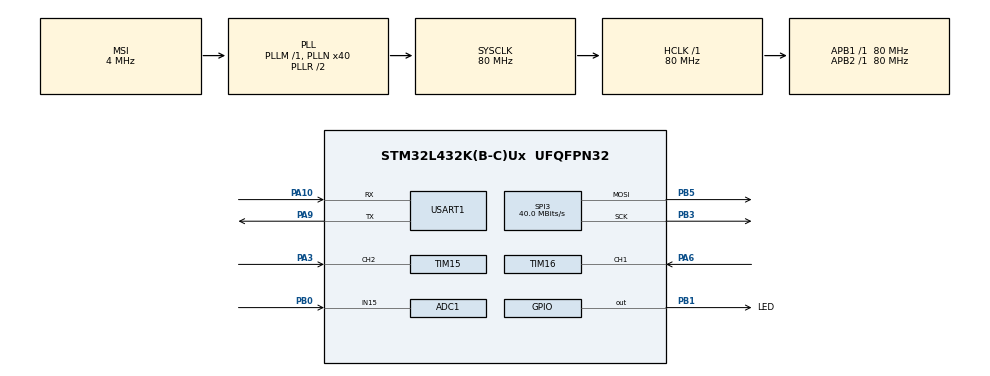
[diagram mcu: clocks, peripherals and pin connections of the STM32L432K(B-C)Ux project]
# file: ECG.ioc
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ADC1.Channel-6\#ChannelRegularConversion=ADC_CHANNEL_15
ADC1.ClockPrescaler=ADC_CLOCK_ASYNC_DIV1
ADC1.ContinuousConvMode=ENABLE
ADC1.DMAContinuousRequests=DISABLE
ADC1.NbrOfConversion=1
ADC1.NbrOfConversionFlag=1
ADC1.OffsetNumber-6\#ChannelRegularConversion=ADC_OFFSET_NONE
ADC1.Rank-6\#ChannelRegularConversion=1
ADC1.SamplingTime-6\#ChannelRegularConversion=ADC_SAMPLETIME_640CYCLES_5
ADC1.master=1
Mcu.Family=STM32L4
Mcu.Name=STM32L432K(B-C)Ux
Mcu.Package=UFQFPN32
NVIC.ADC1_IRQn=true\:0\:0\:false\:false\:true\:true\:true\:true
NVIC.PriorityGroup=NVIC_PRIORITYGROUP_4
NVIC.SPI3_IRQn=true\:0\:0\:false\:false\:true\:true\:true\:true
NVIC.TIM1_UP_TIM16_IRQn=true\:0\:0\:false\:false\:true\:true\:true\:true
NVIC.TIM6_DAC_IRQn=true\:0\:0\:false\:false\:true\:true\:true\:true
NVIC.TIM7_IRQn=true\:0\:0\:false\:false\:true\:true\:true\:true
PA0.GPIO_Label=MCO [High speed clock in]
PA0.Mode=HSE-External-Clock-Source-for-LittleOrca
PA0.Signal=RCC_CK_IN
PA10.Mode=Asynchronous
PA10.Signal=USART1_RX
PA13\ (JTMS-SWDIO).GPIO_Label=SWDIO
PA13\ (JTMS-SWDIO).Mode=Serial_Wire
PA13\ (JTMS-SWDIO).Signal=SYS_JTMS-SWDIO
PA14\ (JTCK-SWCLK).GPIO_Label=SWCLK
PA14\ (JTCK-SWCLK).Mode=Serial_Wire
PA14\ (JTCK-SWCLK).Signal=SYS_JTCK-SWCLK
PA15\ (JTDI).Signal=SPI3_NSS
PA2.GPIO_Label=VCP_TX
PA2.Signal=USART2_TX
PA3.Signal=S_TIM15_CH2
PA6.Signal=S_TIM16_CH1
PA9.Mode=Asynchronous
PA9.Signal=USART1_TX
PB0.Signal=ADCx_IN15
PB1.GPIO_Label=LED
PB1.Signal=GPIO_Output
PB3\ (JTDO-TRACESWO).Mode=TX_Only_Simplex_Unidirect_Master
PB3\ (JTDO-TRACESWO).Signal=SPI3_SCK
PB5.Mode=TX_Only_Simplex_Unidirect_Master
PB5.Signal=SPI3_MOSI
PC14-OSC32_IN\ (PC14).Mode=LSE-External-Oscillator
PC14-OSC32_IN\ (PC14).Signal=RCC_OSC32_IN
PC15-OSC32_OUT\ (PC15).Mode=LSE-External-Oscillator
PC15-OSC32_OUT\ (PC15).Signal=RCC_OSC32_OUT
ProjectManager.HeapSize=0x200
ProjectManager.StackSize=0x400
ProjectManager.TargetToolchain=STM32CubeIDE
RCC.ADCCLockSelection=RCC_ADCCLKSOURCE_SYSCLK
RCC.ADCFreq_Value=80000000
RCC.AHBFreq_Value=80000000
RCC.APB1Freq_Value=80000000
RCC.APB1TimFreq_Value=80000000
RCC.APB2Freq_Value=80000000
RCC.APB2TimFreq_Value=80000000
RCC.CortexFreq_Value=80000000
RCC.HCLKFreq_Value=80000000
RCC.HSE_VALUE=8000000
RCC.HSI16_VALUE=16000000
RCC.HSI48_VALUE=48000000
RCC.HSI_VALUE=16000000
RCC.MSI_VALUE=4000000
RCC.PLLMUL=RCC_PLLMUL_4
RCC.PLLN=40
RCC.PLLSAI1N=16
RCC.SYSCLKFreq_VALUE=80000000
RCC.SYSCLKSource=RCC_SYSCLKSOURCE_PLLCLK
RCC.USBFreq_Value=32000000
RCC.VCOOutputFreq_Value=160000000
SH.ADCx_IN15.0=ADC1_IN15,IN15-Single-Ended
SH.S_TIM15_CH2.0=TIM15_CH2,Input_Capture2_from_TI2
SH.S_TIM16_CH1.0=TIM16_CH1,Input_Capture1_from_TI1
SPI3.CalculateBaudRate=40.0 MBits/s
SPI3.DataSize=SPI_DATASIZE_8BIT
SPI3.Direction=SPI_DIRECTION_2LINES
SPI3.Mode=SPI_MODE_MASTER
SPI3.VirtualType=VM_MASTER
TIM15.Channel-Input_Capture2_from_TI2=TIM_CHANNEL_2
TIM16.Channel=TIM_CHANNEL_1
TIM6.Period=500
TIM6.Prescaler=8000-1
TIM7.Prescaler=8000-1
USART1.VirtualMode-Asynchronous=VM_ASYNC
VP_TIM16_VS_ClockSourceINT.Mode=Enable_Timer
VP_TIM6_VS_ClockSourceINT.Mode=Enable_Timer
VP_TIM7_VS_ClockSourceINT.Mode=Enable_Timer
board=NUCLEO-L432KC

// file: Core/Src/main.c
/* USER CODE BEGIN Header */
/**
  ******************************************************************************
  * @file           : main.c
  * @brief          : Main program body
  ******************************************************************************
  * @attention
  *
  * Copyright (c) 2025 STMicroelectronics.
  * All rights reserved.
  *
  * This software is licensed under terms that can be found in the LICENSE file
  * in the root directory of this software component.
  * If no LICENSE file comes with this software, it is provided AS-IS.
  *
  ******************************************************************************
  */
/* USER CODE END Header */
#include "main.h"

/* USER CODE BEGIN Includes */
#include <string.h>
#include <stdio.h>
#include <stdlib.h>

#include "DOT_MATRIX.h"
/* USER CODE END Includes */

/* USER CODE BEGIN PD */
//////////////////////////////////////////// VARIABLES BPM ////////////////////////////////////////////
#define MAX_BPM 250
#define MIN_BPM 40
#define MAX_CHAR_LENGTH 10

#define ADC_BUFFER_SIZE 512
#define MOVING_AVERAGE_WINDOW 25
#define OUTLIER_THRESHOLD 0.2
#define DERIVATIVE_THRESHOLD 500
#define R_PEAK_THRESHOLD 45000
#define REFRACTORY_PERIOD 300

#define MATRIX_DISPLAY_UNIT1  0
/* USER CODE END PD */

ADC_HandleTypeDef hadc1;

SPI_HandleTypeDef hspi3;

TIM_HandleTypeDef htim6;
TIM_HandleTypeDef htim7;
TIM_HandleTypeDef htim15;
TIM_HandleTypeDef htim16;

UART_HandleTypeDef huart1;

/* USER CODE BEGIN PV */
uint16_t adc_buffer[ADC_BUFFER_SIZE];
uint16_t moving_average_buffer[MOVING_AVERAGE_WINDOW];
char buffer[10];
uint8_t buffer_index = 0;
uint16_t previous_value = 0;
int16_t previous_derivative = 0;
volatile uint16_t refractory_counter = 0;
uint32_t bpm = 5;
char MSG[MAX_CHAR_LENGTH] = "";
uint8_t increment_affichage = 0;
/* USER CODE END PV */

void SystemClock_Config(void);
static void MX_GPIO_Init(void);
static void MX_ADC1_Init(void);
static void MX_USART1_UART_Init(void);
static void MX_TIM6_Init(void);
static void MX_TIM7_Init(void);
static void MX_SPI3_Init(void);
static void MX_TIM16_Init(void);
static void MX_TIM15_Init(void);
/* USER CODE BEGIN PFP */
uint16_t low_pass_filter(uint16_t input);
uint16_t moving_average_filter(uint16_t input);
uint16_t remove_outliers(uint16_t input);
uint16_t remove_spikes(uint16_t input);
void detect_r_peak(uint16_t input, int16_t derivative);
/* USER CODE END PFP */

int main(void)
{

  /* MCU Configuration--------------------------------------------------------*/

  /* Reset of all peripherals, Initializes the Flash interface and the Systick. */
  HAL_Init();

  /* Configure the system clock */
  SystemClock_Config();

  /* Initialize all configured peripherals */
  MX_GPIO_Init();
  MX_ADC1_Init();
  MX_USART1_UART_Init();
  MX_TIM6_Init();
  MX_TIM7_Init();
  MX_SPI3_Init();
  MX_TIM16_Init();
  MX_TIM15_Init();
  /* USER CODE BEGIN 2 */
  HAL_ADC_Start_IT(&hadc1);
  HAL_TIM_Base_Start_IT(&htim6);
  HAL_TIM_Base_Start(&htim7);

  DOT_MATRIX_Init_TMR(&hspi3, &htim16);
  MATRIX_DisplayMessage(0, MSG, sizeof(MSG));
  /* USER CODE END 2 */

  /* Infinite loop */
  while (1)
  {

  }
}

void SystemClock_Config(void)
{
  RCC_OscInitTypeDef RCC_OscInitStruct = {0};
  RCC_ClkInitTypeDef RCC_ClkInitStruct = {0};

  /** Configure the main internal regulator output voltage
  */
  if (HAL_PWREx_ControlVoltageScaling(PWR_REGULATOR_VOLTAGE_SCALE1) != HAL_OK)
  {
    Error_Handler();
  }

  /** Configure LSE Drive Capability
  */
  HAL_PWR_EnableBkUpAccess();
  __HAL_RCC_LSEDRIVE_CONFIG(RCC_LSEDRIVE_LOW);

  /** Initializes the RCC Oscillators according to the specified parameters
  * in the RCC_OscInitTypeDef structure.
  */
  RCC_OscInitStruct.OscillatorType = RCC_OSCILLATORTYPE_LSI|RCC_OSCILLATORTYPE_LSE
                              |RCC_OSCILLATORTYPE_MSI;
  RCC_OscInitStruct.LSEState = RCC_LSE_ON;
  RCC_OscInitStruct.LSIState = RCC_LSI_ON;
  RCC_OscInitStruct.MSIState = RCC_MSI_ON;
  RCC_OscInitStruct.MSICalibrationValue = 0;
  RCC_OscInitStruct.MSIClockRange = RCC_MSIRANGE_6;
  RCC_OscInitStruct.PLL.PLLState = RCC_PLL_ON;
  RCC_OscInitStruct.PLL.PLLSource = RCC_PLLSOURCE_MSI;
  RCC_OscInitStruct.PLL.PLLM = 1;
  RCC_OscInitStruct.PLL.PLLN = 40;
  RCC_OscInitStruct.PLL.PLLP = RCC_PLLP_DIV7;
  RCC_OscInitStruct.PLL.PLLQ = RCC_PLLQ_DIV2;
  RCC_OscInitStruct.PLL.PLLR = RCC_PLLR_DIV2;
  if (HAL_RCC_OscConfig(&RCC_OscInitStruct) != HAL_OK)
  {
    Error_Handler();
  }

  /** Initializes the CPU, AHB and APB buses clocks
  */
  RCC_ClkInitStruct.ClockType = RCC_CLOCKTYPE_HCLK|RCC_CLOCKTYPE_SYSCLK
                              |RCC_CLOCKTYPE_PCLK1|RCC_CLOCKTYPE_PCLK2;
  RCC_ClkInitStruct.SYSCLKSource = RCC_SYSCLKSOURCE_PLLCLK;
  RCC_ClkInitStruct.AHBCLKDivider = RCC_SYSCLK_DIV1;
  RCC_ClkInitStruct.APB1CLKDivider = RCC_HCLK_DIV1;
  RCC_ClkInitStruct.APB2CLKDivider = RCC_HCLK_DIV1;

  if (HAL_RCC_ClockConfig(&RCC_ClkInitStruct, FLASH_LATENCY_4) != HAL_OK)
  {
    Error_Handler();
  }

  /** Enable MSI Auto calibration
  */
  HAL_RCCEx_EnableMSIPLLMode();
}

static void MX_ADC1_Init(void)
{

  ADC_ChannelConfTypeDef sConfig = {0};

  /** Common config
  */
  hadc1.Instance = ADC1;
  hadc1.Init.ClockPrescaler = ADC_CLOCK_ASYNC_DIV1;
  hadc1.Init.Resolution = ADC_RESOLUTION_12B;
  hadc1.Init.DataAlign = ADC_DATAALIGN_RIGHT;
  hadc1.Init.ScanConvMode = ADC_SCAN_DISABLE;
  hadc1.Init.EOCSelection = ADC_EOC_SINGLE_CONV;
  hadc1.Init.LowPowerAutoWait = DISABLE;
  hadc1.Init.ContinuousConvMode = ENABLE;
  hadc1.Init.NbrOfConversion = 1;
  hadc1.Init.DiscontinuousConvMode = DISABLE;
  hadc1.Init.ExternalTrigConv = ADC_SOFTWARE_START;
  hadc1.Init.ExternalTrigConvEdge = ADC_EXTERNALTRIGCONVEDGE_NONE;
  hadc1.Init.DMAContinuousRequests = DISABLE;
  hadc1.Init.Overrun = ADC_OVR_DATA_PRESERVED;
  hadc1.Init.OversamplingMode = DISABLE;
  if (HAL_ADC_Init(&hadc1) != HAL_OK)
  {
    Error_Handler();
  }

  /** Configure Regular Channel
  */
  sConfig.Channel = ADC_CHANNEL_15;
  sConfig.Rank = ADC_REGULAR_RANK_1;
  sConfig.SamplingTime = ADC_SAMPLETIME_640CYCLES_5;
  sConfig.SingleDiff = ADC_SINGLE_ENDED;
  sConfig.OffsetNumber = ADC_OFFSET_NONE;
  sConfig.Offset = 0;
  if (HAL_ADC_ConfigChannel(&hadc1, &sConfig) != HAL_OK)
  {
    Error_Handler();
  }

}

static void MX_SPI3_Init(void)
{

  /* SPI3 parameter configuration*/
  hspi3.Instance = SPI3;
  hspi3.Init.Mode = SPI_MODE_MASTER;
  hspi3.Init.Direction = SPI_DIRECTION_2LINES;
  hspi3.Init.DataSize = SPI_DATASIZE_8BIT;
  hspi3.Init.CLKPolarity = SPI_POLARITY_LOW;
  hspi3.Init.CLKPhase = SPI_PHASE_1EDGE;
  hspi3.Init.NSS = SPI_NSS_SOFT;
  hspi3.Init.BaudRatePrescaler = SPI_BAUDRATEPRESCALER_2;
  hspi3.Init.FirstBit = SPI_FIRSTBIT_MSB;
  hspi3.Init.TIMode = SPI_TIMODE_DISABLE;
  hspi3.Init.CRCCalculation = SPI_CRCCALCULATION_DISABLE;
  hspi3.Init.CRCPolynomial = 7;
  hspi3.Init.CRCLength = SPI_CRC_LENGTH_DATASIZE;
  hspi3.Init.NSSPMode = SPI_NSS_PULSE_ENABLE;
  if (HAL_SPI_Init(&hspi3) != HAL_OK)
  {
    Error_Handler();
  }

}

static void MX_TIM6_Init(void)
{

  TIM_MasterConfigTypeDef sMasterConfig = {0};

  htim6.Instance = TIM6;
  htim6.Init.Prescaler = 8000-1;
  htim6.Init.CounterMode = TIM_COUNTERMODE_UP;
  htim6.Init.Period = 500;
  htim6.Init.AutoReloadPreload = TIM_AUTORELOAD_PRELOAD_DISABLE;
  if (HAL_TIM_Base_Init(&htim6) != HAL_OK)
  {
    Error_Handler();
  }
  sMasterConfig.MasterOutputTrigger = TIM_TRGO_RESET;
  sMasterConfig.MasterSlaveMode = TIM_MASTERSLAVEMODE_DISABLE;
  if (HAL_TIMEx_MasterConfigSynchronization(&htim6, &sMasterConfig) != HAL_OK)
  {
    Error_Handler();
  }

}

static void MX_TIM7_Init(void)
{

  TIM_MasterConfigTypeDef sMasterConfig = {0};

  htim7.Instance = TIM7;
  htim7.Init.Prescaler = 8000-1;
  htim7.Init.CounterMode = TIM_COUNTERMODE_UP;
  htim7.Init.Period = 65535;
  htim7.Init.AutoReloadPreload = TIM_AUTORELOAD_PRELOAD_DISABLE;
  if (HAL_TIM_Base_Init(&htim7) != HAL_OK)
  {
    Error_Handler();
  }
  sMasterConfig.MasterOutputTrigger = TIM_TRGO_RESET;
  sMasterConfig.MasterSlaveMode = TIM_MASTERSLAVEMODE_DISABLE;
  if (HAL_TIMEx_MasterConfigSynchronization(&htim7, &sMasterConfig) != HAL_OK)
  {
    Error_Handler();
  }

}

static void MX_TIM15_Init(void)
{

  TIM_MasterConfigTypeDef sMasterConfig = {0};
  TIM_IC_InitTypeDef sConfigIC = {0};

  htim15.Instance = TIM15;
  htim15.Init.Prescaler = 0;
  htim15.Init.CounterMode = TIM_COUNTERMODE_UP;
  htim15.Init.Period = 65535;
  htim15.Init.ClockDivision = TIM_CLOCKDIVISION_DIV1;
  htim15.Init.RepetitionCounter = 0;
  htim15.Init.AutoReloadPreload = TIM_AUTORELOAD_PRELOAD_DISABLE;
  if (HAL_TIM_IC_Init(&htim15) != HAL_OK)
  {
    Error_Handler();
  }
  sMasterConfig.MasterOutputTrigger = TIM_TRGO_RESET;
  sMasterConfig.MasterSlaveMode = TIM_MASTERSLAVEMODE_DISABLE;
  if (HAL_TIMEx_MasterConfigSynchronization(&htim15, &sMasterConfig) != HAL_OK)
  {
    Error_Handler();
  }
  sConfigIC.ICPolarity = TIM_INPUTCHANNELPOLARITY_RISING;
  sConfigIC.ICSelection = TIM_ICSELECTION_DIRECTTI;
  sConfigIC.ICPrescaler = TIM_ICPSC_DIV1;
  sConfigIC.ICFilter = 0;
  if (HAL_TIM_IC_ConfigChannel(&htim15, &sConfigIC, TIM_CHANNEL_2) != HAL_OK)
  {
    Error_Handler();
  }

}

static void MX_TIM16_Init(void)
{

  TIM_IC_InitTypeDef sConfigIC = {0};

  htim16.Instance = TIM16;
  htim16.Init.Prescaler = 0;
  htim16.Init.CounterMode = TIM_COUNTERMODE_UP;
  htim16.Init.Period = 65535;
  htim16.Init.ClockDivision = TIM_CLOCKDIVISION_DIV1;
  htim16.Init.RepetitionCounter = 0;
  htim16.Init.AutoReloadPreload = TIM_AUTORELOAD_PRELOAD_DISABLE;
  if (HAL_TIM_Base_Init(&htim16) != HAL_OK)
  {
    Error_Handler();
  }
  if (HAL_TIM_IC_Init(&htim16) != HAL_OK)
  {
    Error_Handler();
  }
  sConfigIC.ICPolarity = TIM_INPUTCHANNELPOLARITY_RISING;
  sConfigIC.ICSelection = TIM_ICSELECTION_DIRECTTI;
  sConfigIC.ICPrescaler = TIM_ICPSC_DIV1;
  sConfigIC.ICFilter = 0;
  if (HAL_TIM_IC_ConfigChannel(&htim16, &sConfigIC, TIM_CHANNEL_1) != HAL_OK)
  {
    Error_Handler();
  }

}

static void MX_USART1_UART_Init(void)
{

  huart1.Instance = USART1;
  huart1.Init.BaudRate = 115200;
  huart1.Init.WordLength = UART_WORDLENGTH_8B;
  huart1.Init.StopBits = UART_STOPBITS_1;
  huart1.Init.Parity = UART_PARITY_NONE;
  huart1.Init.Mode = UART_MODE_TX_RX;
  huart1.Init.HwFlowCtl = UART_HWCONTROL_NONE;
  huart1.Init.OverSampling = UART_OVERSAMPLING_16;
  huart1.Init.OneBitSampling = UART_ONE_BIT_SAMPLE_DISABLE;
  huart1.AdvancedInit.AdvFeatureInit = UART_ADVFEATURE_NO_INIT;
  if (HAL_UART_Init(&huart1) != HAL_OK)
  {
    Error_Handler();
  }

}

static void MX_GPIO_Init(void)
{
  GPIO_InitTypeDef GPIO_InitStruct = {0};

  /* GPIO Ports Clock Enable */
  __HAL_RCC_GPIOC_CLK_ENABLE();
  __HAL_RCC_GPIOA_CLK_ENABLE();
  __HAL_RCC_GPIOB_CLK_ENABLE();

  /*Configure GPIO pin Output Level */
  HAL_GPIO_WritePin(LED_GPIO_Port, LED_Pin, GPIO_PIN_RESET);

  /*Configure GPIO pin : VCP_TX_Pin */
  GPIO_InitStruct.Pin = VCP_TX_Pin;
  GPIO_InitStruct.Mode = GPIO_MODE_AF_PP;
  GPIO_InitStruct.Pull = GPIO_NOPULL;
  GPIO_InitStruct.Speed = GPIO_SPEED_FREQ_VERY_HIGH;
  GPIO_InitStruct.Alternate = GPIO_AF7_USART2;
  HAL_GPIO_Init(VCP_TX_GPIO_Port, &GPIO_InitStruct);

  /*Configure GPIO pin : LED_Pin */
  GPIO_InitStruct.Pin = LED_Pin;
  GPIO_InitStruct.Mode = GPIO_MODE_OUTPUT_PP;
  GPIO_InitStruct.Pull = GPIO_NOPULL;
  GPIO_InitStruct.Speed = GPIO_SPEED_FREQ_LOW;
  HAL_GPIO_Init(LED_GPIO_Port, &GPIO_InitStruct);

}

/* USER CODE BEGIN 4 */
uint16_t low_pass_filter(uint16_t input) {
    static uint16_t previous_output = 0;
    previous_output = (previous_output * 15 + input) / 16;
    return previous_output;
}

uint16_t moving_average_filter(uint16_t input) {
    static uint32_t sum = 0;
    sum -= moving_average_buffer[buffer_index];
    moving_average_buffer[buffer_index] = input;
    sum += input;
    buffer_index = (buffer_index + 1) % MOVING_AVERAGE_WINDOW;
    return sum / MOVING_AVERAGE_WINDOW;
}

uint16_t remove_spikes(uint16_t input) {
    uint16_t derivative = abs(input - previous_value);
    previous_value = input;

    if (derivative > DERIVATIVE_THRESHOLD) {
        return previous_value;
    }
    return input;
}

uint16_t remove_outliers(uint16_t input) {
    static uint16_t values[MOVING_AVERAGE_WINDOW];
    static uint8_t index = 0;
    values[index] = input;
    index = (index + 1) % MOVING_AVERAGE_WINDOW;

    uint16_t sorted[MOVING_AVERAGE_WINDOW];
    memcpy(sorted, values, sizeof(values));
    for (int i = 0; i < MOVING_AVERAGE_WINDOW - 1; i++) {
        for (int j = i + 1; j < MOVING_AVERAGE_WINDOW; j++) {
            if (sorted[i] > sorted[j]) {
                uint16_t temp = sorted[i];
                sorted[i] = sorted[j];
                sorted[j] = temp;
            }
        }
    }

    uint16_t q1 = sorted[MOVING_AVERAGE_WINDOW / 4];
    uint16_t q3 = sorted[3 * MOVING_AVERAGE_WINDOW / 4];
    uint16_t iqr = q3 - q1;
    uint16_t lower_bound = q1 - OUTLIER_THRESHOLD * iqr;
    uint16_t upper_bound = q3 + OUTLIER_THRESHOLD * iqr;

    uint16_t median = sorted[MOVING_AVERAGE_WINDOW / 2];
    if (input < lower_bound || input > upper_bound) {
        return median;
    }
    return input;
}

uint32_t square_signal(uint16_t input) {
    return (uint32_t)input * (uint32_t)input;
}

void detect_r_peak(uint16_t input, int16_t derivative) {
    static uint8_t peak_detected = 0;
    static uint16_t refractory_counter = 0;

    if (refractory_counter > 0) {
            refractory_counter--;
            return;
        }

    if (input > R_PEAK_THRESHOLD) {
        if (!peak_detected) {
        	increment_affichage+=1;
            HAL_GPIO_WritePin(GPIOB, LED_Pin, GPIO_PIN_SET);
            HAL_TIM_Base_Start_IT(&htim6);

            uint32_t peak_period = __HAL_TIM_GET_COUNTER(&htim7);
            bpm = 600000/peak_period;

            if (increment_affichage == 3) {
            	sprintf(MSG, "BPM %3ld", bpm);
            	increment_affichage = 0;
            }

            __HAL_TIM_SET_COUNTER(&htim7, 0);
            peak_detected = 1;
            refractory_counter = REFRACTORY_PERIOD;
        }
    }
    else if (previous_derivative < 0 && derivative > 0) {
        peak_detected = 0;
    }

    previous_derivative = derivative;
}

void HAL_ADC_ConvCpltCallback(ADC_HandleTypeDef* hadc) {
    if (hadc->Instance == ADC1) {

        uint16_t adc_value = HAL_ADC_GetValue(&hadc1);
        uint16_t filtered_value = square_signal(moving_average_filter(low_pass_filter(remove_outliers(remove_spikes(adc_value)))));
        int16_t derivative = filtered_value - previous_value;
        previous_value = filtered_value;

        detect_r_peak(filtered_value, derivative);

        sprintf(buffer, "%d\r\n", filtered_value);
        HAL_UART_Transmit(&huart1, (uint8_t*)buffer, strlen(buffer), HAL_MAX_DELAY);

        HAL_ADC_Start_IT(&hadc1);
    }
}

void HAL_TIM_PeriodElapsedCallback(TIM_HandleTypeDef *htim) {
    if (htim->Instance == TIM6) {
        HAL_GPIO_WritePin(GPIOB, LED_Pin, GPIO_PIN_RESET);
        HAL_TIM_Base_Stop_IT(&htim6);
    }
    if (htim->Instance == TIM16) {
    	MATRIX_TMR_OVF_ISR(htim);
    }
}
/* USER CODE END 4 */

void Error_Handler(void)
{
  __disable_irq();
  while (1)
  {
  }
}
